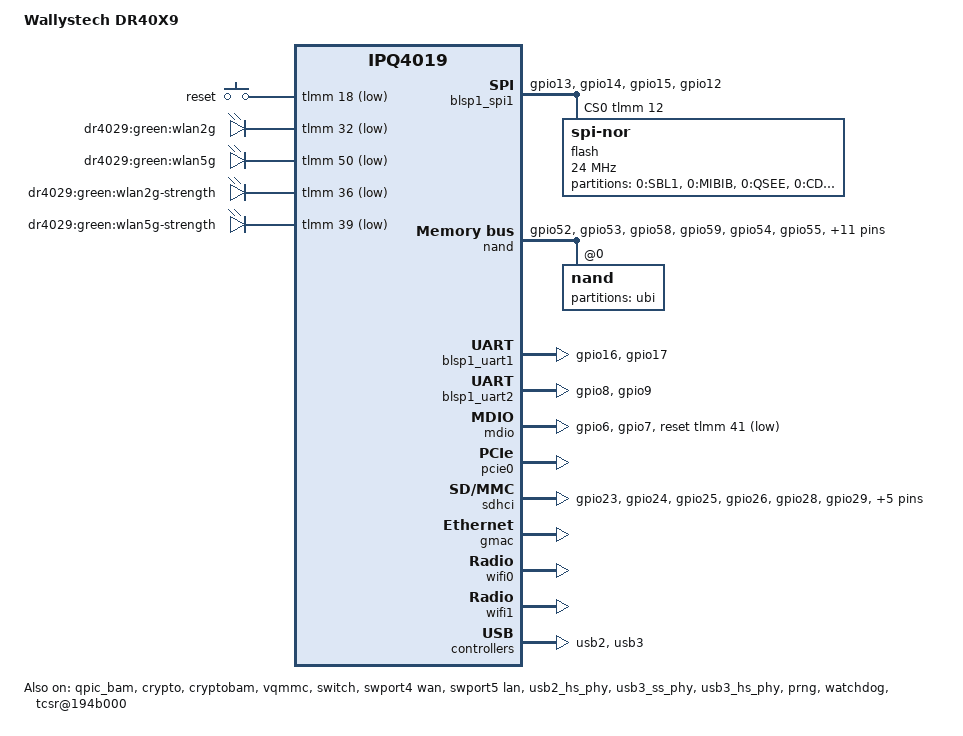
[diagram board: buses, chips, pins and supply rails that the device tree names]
// SPDX-License-Identifier: GPL-2.0-or-later OR MIT

#include "qcom-ipq4019.dtsi"
#include <dt-bindings/gpio/gpio.h>
#include <dt-bindings/input/input.h>
#include <dt-bindings/soc/qcom,tcsr.h>

/ {
	model = "Wallystech DR40X9";
	compatible = "wallys,dr40x9";

	aliases {
		// TODO: Verify if the ethernet0 alias is needed
		ethernet0 = &gmac;
	};

	chosen {
		bootargs-append = " ubi.mtd=ubi root=/dev/ubiblock0_1";
	};

	soc {
		counter@4a1000 {
			compatible = "qcom,qca-gcnt";
			reg = <0x4a1000 0x4>;
		};

		tcsr@1949000 {
			compatible = "qcom,tcsr";
			reg = <0x1949000 0x100>;
			qcom,wifi_glb_cfg = <TCSR_WIFI_GLB_CFG>;
		};

		tcsr@194b000 {
			status = "okay";

			/* select hostmode */
			compatible = "qcom,tcsr";
			reg = <0x194b000 0x100>;
			qcom,usb-hsphy-mode-select = <TCSR_USB_HSPHY_HOST_MODE>;
		};

		ess_tcsr@1953000 {
			compatible = "qcom,tcsr";
			reg = <0x1953000 0x1000>;
			qcom,ess-interface-select = <TCSR_ESS_PSGMII>;
		};

		tcsr@1957000 {
			compatible = "qcom,tcsr";
			reg = <0x1957000 0x100>;
			qcom,wifi_noc_memtype_m0_m2 = <TCSR_WIFI_NOC_MEMTYPE_M0_M2>;
		};
	};

	keys {
		compatible = "gpio-keys";

		reset {
			label = "reset";
			gpios = <&tlmm 18 GPIO_ACTIVE_LOW>;
			linux,code = <KEY_RESTART>;
		};
	};

	leds {
		compatible = "gpio-leds";

		wlan2g {
			label = "dr4029:green:wlan2g";
			gpios = <&tlmm 32 GPIO_ACTIVE_LOW>;
			linux,default-trigger = "phy0tpt";
		};

		wlan5g {
			label = "dr4029:green:wlan5g";
			gpios = <&tlmm 50 GPIO_ACTIVE_LOW>;
			linux,default-trigger = "phy1tpt";
		};

		wlan2g-strength {
			label = "dr4029:green:wlan2g-strength";
			gpios = <&tlmm 36 GPIO_ACTIVE_LOW>;
		};

		wlan5g-strength {
			label = "dr4029:green:wlan5g-strength";
			gpios = <&tlmm 39 GPIO_ACTIVE_LOW>;
		};
	};
};

&tlmm {
	mdio_pins: mdio_pinmux {
		mux_1 {
			pins = "gpio6";
			function = "mdio";
			bias-pull-up;
		};
		mux_2 {
			pins = "gpio7";
			function = "mdc";
			bias-pull-up;
		};
	};

	serial0_pins: serial0_pinmux {
		mux {
			pins = "gpio16", "gpio17";
			function = "blsp_uart0";
			bias-disable;
		};
	};

	serial1_pins: serial1_pinmux {
		mux {
			pins = "gpio8", "gpio9";
			function = "blsp_uart1";
			bias-disable;
		};
	};

	spi_0_pins: spi_0_pinmux {
		pinmux {
			function = "blsp_spi0";
			pins = "gpio13", "gpio14", "gpio15";
			drive-strength = <12>;
			bias-disable;
		};
		pinmux_cs {
			function = "gpio";
			pins = "gpio12";
			drive-strength = <2>;
			bias-disable;
			output-high;
		};
	};

	nand_pins: nand_pins {
		pullups {
			pins =  "gpio52", "gpio53", "gpio58", "gpio59";
			function = "qpic";
			bias-pull-up;
		};

		pulldowns {
			pins = "gpio54", "gpio55", "gpio56", "gpio57",
				"gpio60", "gpio62", "gpio63", "gpio64",
				"gpio65", "gpio66", "gpio67", "gpio68",
				"gpio69";
			function = "qpic";
			bias-pull-down;
		};
	};

	sd_pins: sd_pins {
		pinmux {
			function = "sdio";
			pins = "gpio23", "gpio24", "gpio25", "gpio26",
				"gpio28", "gpio29", "gpio30", "gpio31";
			drive-strength = <10>;
		};
		pinmux_sd_clk {
			function = "sdio";
			pins = "gpio27";
			drive-strength = <16>;
		};
		pinmux_sd7 {
			function = "sdio";
			pins = "gpio32";
			drive-strength = <10>;
			bias-disable;
		};
	};
};

&blsp_dma {
	status = "okay";
};

&blsp1_spi1 {
	status = "okay";

	pinctrl-0 = <&spi_0_pins>;
	pinctrl-names = "default";

	cs-gpios = <&tlmm 12 GPIO_ACTIVE_HIGH>;

	flash@0 {
		compatible = "jedec,spi-nor";
		spi-max-frequency = <24000000>;
		reg = <0>;

		partitions {
			compatible = "fixed-partitions";
			#address-cells = <1>;
			#size-cells = <1>;

			partition0@0 {
				label = "0:SBL1";
				reg = <0x00000000 0x00040000>;
				read-only;
			};

			partition1@40000 {
				label = "0:MIBIB";
				reg = <0x00040000 0x00020000>;
				read-only;
			};

			partition2@60000 {
				label = "0:QSEE";
				reg = <0x00060000 0x00060000>;
				read-only;
			};

			partition3@c0000 {
				label = "0:CDT";
				reg = <0x000c0000 0x00010000>;
				read-only;
			};

			partition4@d0000 {
				label = "0:DDRPARAMS";
				reg = <0x000d0000 0x00010000>;
				read-only;
			};

			partition5@e0000 {
				label = "0:APPSBLENV"; /* uboot env */
				reg = <0x000e0000 0x00010000>;
				read-only;
			};

			partition6@f0000 {
				label = "0:APPSBL"; /* uboot */
				reg = <0x000f0000 0x00080000>;
				read-only;
			};

			partition7@170000 {
				label = "0:ART";
				reg = <0x00170000 0x00010000>;
				read-only;

				nvmem-layout {
					compatible = "fixed-layout";
					#address-cells = <1>;
					#size-cells = <1>;

					macaddr_art_0: mac-address@0 {
						reg = <0x0 0x6>;
					};

					macaddr_art_6: mac-address@6 {
						reg = <0x6 0x6>;
					};

					precal_art_1000: precal@1000 {
						reg = <0x1000 0x2f20>;
					};

					precal_art_5000: precal@5000 {
						reg = <0x5000 0x2f20>;
					};
				};
			};

			partition8@180000 {
				label = "0:CONFIG";
				reg = <0x00180000 0x00010000>;
				read-only;
			};
		};
	};
};

&qpic_bam {
	status = "okay";
};

&nand {
	status = "okay";

	pinctrl-0 = <&nand_pins>;
	pinctrl-names = "default";

	nand@0 {
		partitions {
			compatible = "fixed-partitions";
			#address-cells = <1>;
			#size-cells = <1>;

			partition@0 {
				label = "ubi";
				reg = <0x00000000 0x04000000>;
			};
		};
	};
};

&blsp1_uart1 {
	status = "okay";
	pinctrl-0 = <&serial0_pins>;
	pinctrl-names = "default";
};

&blsp1_uart2 {
	status = "okay";
	pinctrl-0 = <&serial1_pins>;
	pinctrl-names = "default";
};

&crypto {
	status = "okay";
};

&cryptobam {
	num-channels = <4>;
	qcom,num-ees = <2>;
	status = "okay";
};

&mdio {
	status = "okay";
	pinctrl-0 = <&mdio_pins>;
	pinctrl-names = "default";
	reset-gpios = <&tlmm 41 GPIO_ACTIVE_LOW>;
	reset-delay-us = <2000>;
};

&pcie0 {
	status = "okay";

	perst-gpio = <&tlmm 38 GPIO_ACTIVE_LOW>;
	wake-gpio = <&tlmm 40 GPIO_ACTIVE_LOW>;
};

&vqmmc {
	status = "okay";
};

&sdhci {
	status = "okay";
	pinctrl-0 = <&sd_pins>;
	pinctrl-names = "default";
	cd-gpios = <&tlmm 22 GPIO_ACTIVE_LOW>;
	vqmmc-supply = <&vqmmc>;
};

&gmac {
	status = "okay";
};

&switch {
	status = "okay";
};

&swport4 {
	status = "okay";
	label = "wan";
	nvmem-cells = <&macaddr_art_0>;
	nvmem-cell-names = "mac-address";
};

&swport5 {
	status = "okay";
	label = "lan";
	nvmem-cells = <&macaddr_art_6>;
	nvmem-cell-names = "mac-address";
};

&wifi0 {
	status = "okay";
	nvmem-cells = <&precal_art_1000>;
	nvmem-cell-names = "pre-calibration";
	qcom,ath10k-calibration-variant = "Wallys-DR40X9";
};

&wifi1 {
	status = "okay";
	nvmem-cell-names = "pre-calibration";
	nvmem-cells = <&precal_art_5000>;
	qcom,ath10k-calibration-variant = "Wallys-DR40X9";
};

&usb2 {
	status = "okay";
};

&usb2_hs_phy {
	status = "okay";
};

&usb3 {
	status = "okay";
};

&usb3_ss_phy {
	status = "okay";
};

&usb3_hs_phy {
	status = "okay";
};

&prng {
	status = "okay";
};

&watchdog {
	status = "okay";
};

